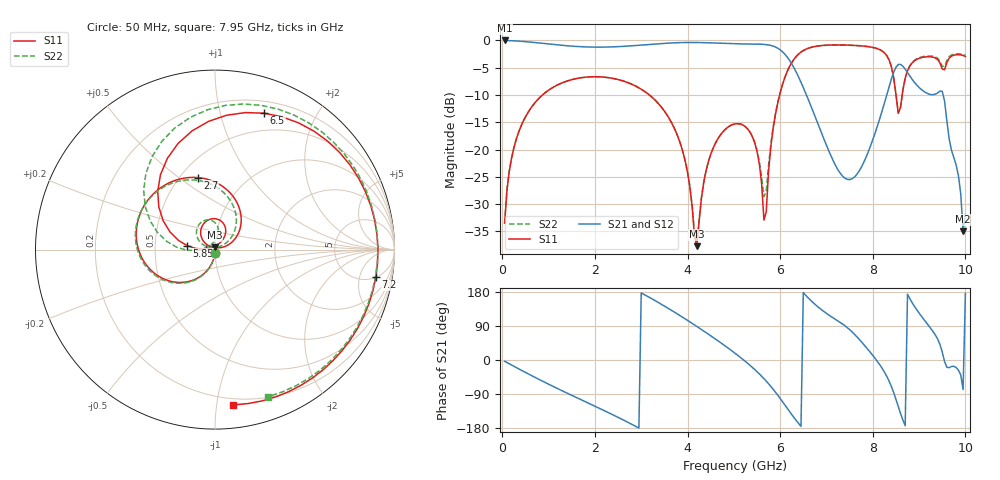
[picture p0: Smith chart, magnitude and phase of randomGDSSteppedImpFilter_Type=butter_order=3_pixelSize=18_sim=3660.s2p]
! freq	dB(S11)	phase(S11)	dB(S12)	phase(S12)
!  dB(S21)	phase(S21)	dB(S22)	phase(S22)
!S-par simulation data
#  GHz  S  DB  R 50
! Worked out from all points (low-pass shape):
!   200 points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, 50 MHz to 10 GHz, reference 50 ohm
!   highest |S21| = -0.01 dB at 50 MHz (marker M1); lowest = -35.0 dB at 9.95 GHz (marker M2)
!   |S21| within 3 dB of the highest: start of sweep to 6.148 GHz
!   lowest |S11| = -37.7 dB at 4.2 GHz (marker M3), VSWR 1.03, Z = 49.8 + j1.28 ohm
!   |S11| at or under -10 dB: start of sweep to 868.8 MHz; 3.175 GHz to 5.989 GHz (2.814 GHz wide, 61.4 % of centre); 8.502 GHz to 8.636 GHz (134.1 MHz wide, 1.57 % of centre)
!   |S22| runs from -37.0 to -0.8 dB; largest |S21 - S12| = 0
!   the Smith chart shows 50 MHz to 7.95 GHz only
!   S11 on the Smith chart (normalised r, x): 50 MHz: 1.00, -0.04; 2.7 GHz: 0.61, +0.59; 5.85 GHz: 0.73, +0.03; 6.5 GHz: 0.31, +1.37; 7.2 GHz: 5, -9; 7.95 GHz: 0.16, -1.11
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0.05  -33.50 -93.3  -0.01 -3.4  -0.01 -3.4  -33.50 -93.2
0.5  -14.02 -123.7  -0.22 -32.8  -0.22 -32.8  -14.02 -122.8
1.75  -6.78 160.2  -1.17 -107.6  -1.17 -107.6  -6.78 163.8
2.7  -7.69 103.3  -1.04 -163.6  -1.04 -163.6  -7.69 109.6
3.4  -11.87 56.6  -0.59 149.6  -0.59 149.6  -11.86 65.4
4.2  -37.71 98.9  -0.38 88.6  -0.38 88.6  -37.02 108.6
4.5  -20.89 141.1  -0.45 64.0  -0.45 64.0  -20.92 153.8
5.05  -15.27 95.9  -0.62 15.6  -0.62 15.6  -15.28 112.5
5.45  -18.75 58.7  -0.66 -25.0  -0.66 -25.0  -18.64 80.9
5.65  -32.94 76.9  -0.73 -49.1  -0.73 -49.1  -28.63 111.1
5.85  -16.07 171.9  -1.05 -77.2  -1.05 -77.2  -15.84 -179.1
6.5  -1.86 70.2  -8.63 177.7  -8.63 177.7  -1.88 85.8
6.7  -1.20 43.8  -12.78 152.6  -12.78 152.6  -1.22 59.6
7.2  -0.83 -9.8  -22.98 106.8  -22.98 106.8  -0.84 5.3
7.95  -1.20 -83.3  -19.38 19.8  -19.38 19.8  -1.20 -70.1
8.35  -3.53 -138.6  -8.56 -55.0  -8.56 -55.0  -3.50 -125.8
8.55  -13.37 -139.7  -4.42 -122.6  -4.42 -122.6  -13.27 -126.9
8.7  -6.93 -106.1  -5.27 -173.3  -5.27 -173.3  -6.88 -92.7
9.15  -3.02 -172.5  -9.59 99.6  -9.59 99.6  -2.88 -155.5
9.5  -5.23 139.8  -9.33 20.9  -9.33 20.9  -4.71 162.0
9.95  -2.75 87.7  -34.98 -77.9  -34.98 -77.9  -2.58 114.0
10  -2.95 79.9  -31.93 175.5  -31.93 175.5  -2.75 107.0
